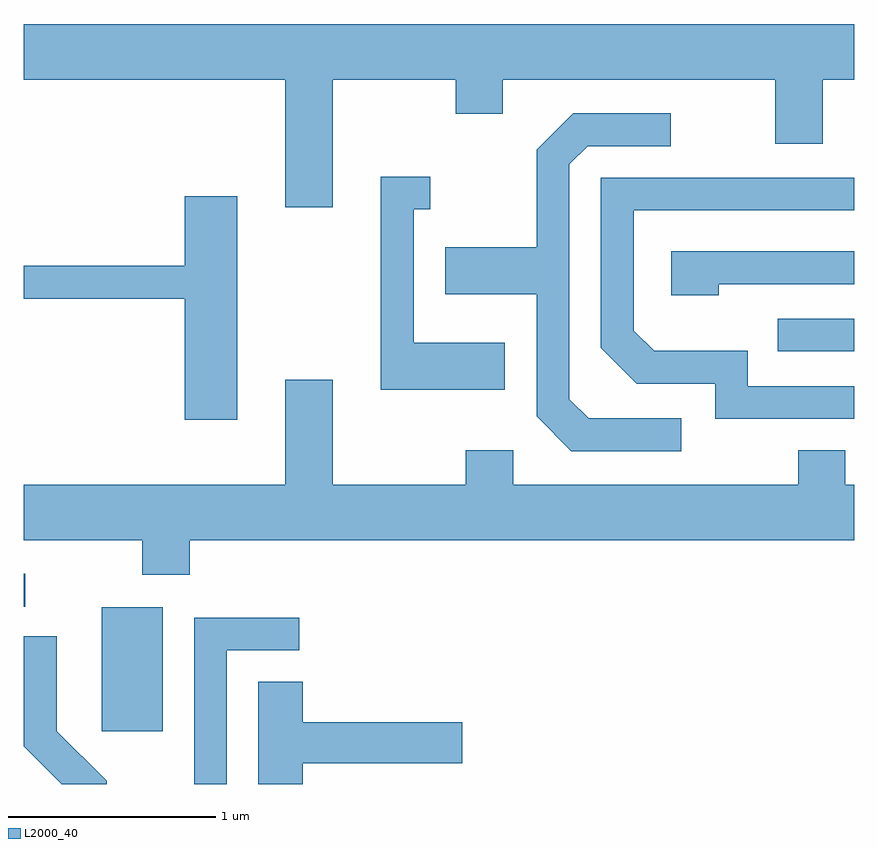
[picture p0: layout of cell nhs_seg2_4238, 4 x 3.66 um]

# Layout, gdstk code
import gdstk
lib = gdstk.Library(unit=1e-6, precision=1e-09)
def R(c, l, rs):  # rectangles x0, y0, x1, y1
    for r in rs: c.add(gdstk.rectangle(r[:2], r[2:], *l))
def P(c, l, *ps):  # polygons
    for p in ps: c.add(gdstk.Polygon(p, *l))
L2000_40 = (2000, 40)

nhs_seg2_4238 = lib.new_cell('nhs_seg2_4238')
R(nhs_seg2_4238, L2000_40, [(309.986,1054.056,310.279,1054.654), (309.611,1054.656,309.618,1054.814), (313.243,1055.886,313.611,1056.044)])
P(nhs_seg2_4238, L2000_40, [(311.099,1057.196),(311.691,1057.196),(311.691,1057.031),(311.919,1057.031),(311.919,1057.196),(313.231,1057.196),(313.231,1056.886),(313.459,1056.886),(313.459,1057.196),(313.611,1057.196),(313.611,1057.464),(309.611,1057.464),(309.611,1057.196),(310.871,1057.196),(310.871,1056.581),(311.099,1056.581)],
  [(312.778,1055.564),(312.332,1055.564),(312.239,1055.657),(312.239,1056.789),(312.327,1056.876),(312.728,1056.876),(312.728,1057.034),(312.259,1057.034),(312.081,1056.857),(312.081,1056.389),(311.641,1056.389),(311.641,1056.161),(312.081,1056.161),(312.081,1055.574),(312.249,1055.406),(312.778,1055.406)],
  [(311.929,1055.929),(311.489,1055.929),(311.489,1056.571),(311.568,1056.571),(311.568,1056.729),(311.331,1056.729),(311.331,1055.701),(311.929,1055.701)],
  [(313.611,1055.719),(313.099,1055.719),(313.099,1055.889),(312.647,1055.889),(312.549,1055.987),(312.549,1056.566),(313.611,1056.566),(313.611,1056.724),(312.391,1056.724),(312.391,1055.904),(312.564,1055.731),(312.941,1055.731),(312.941,1055.561),(313.611,1055.561)],
  [(310.639,1056.634),(310.386,1056.634),(310.386,1056.299),(309.611,1056.299),(309.611,1056.141),(310.386,1056.141),(310.386,1055.556),(310.639,1055.556)],
  [(312.959,1056.211),(313.611,1056.211),(313.611,1056.369),(312.731,1056.369),(312.731,1056.156),(312.959,1056.156)],
  [(313.611,1055.244),(313.569,1055.244),(313.569,1055.409),(313.341,1055.409),(313.341,1055.244),(311.969,1055.244),(311.969,1055.409),(311.741,1055.409),(311.741,1055.244),(311.099,1055.244),(311.099,1055.749),(310.871,1055.749),(310.871,1055.244),(309.611,1055.244),(309.611,1054.976),(310.181,1054.976),(310.181,1054.811),(310.409,1054.811),(310.409,1054.976),(313.611,1054.976)],
  [(310.589,1054.446),(310.938,1054.446),(310.938,1054.604),(310.431,1054.604),(310.431,1053.802),(310.589,1053.802)],
  [(310.009,1053.817),(309.769,1054.057),(309.769,1054.513),(309.611,1054.513),(309.611,1053.984),(309.793,1053.802),(310.009,1053.802)],
  [(310.954,1053.901),(311.724,1053.901),(311.724,1054.099),(310.954,1054.099),(310.954,1054.294),(310.741,1054.294),(310.741,1053.802),(310.954,1053.802)])

lib.write_gds('nhs_seg2_4238.gds')
